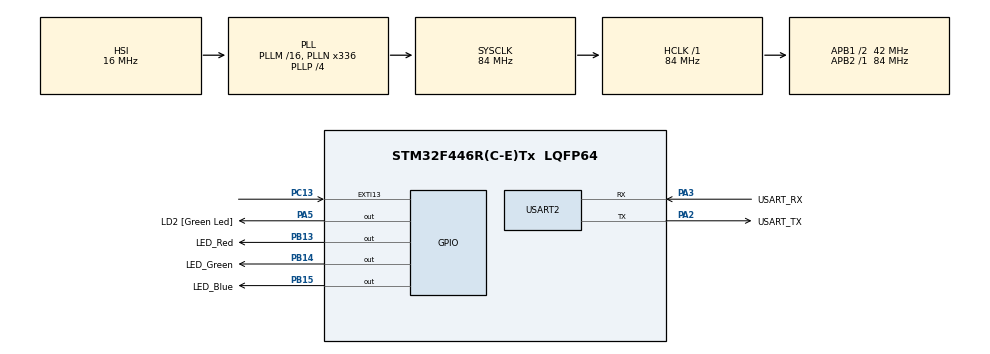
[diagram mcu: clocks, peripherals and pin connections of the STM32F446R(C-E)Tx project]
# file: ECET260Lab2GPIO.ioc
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Mcu.Family=STM32F4
Mcu.Name=STM32F446R(C-E)Tx
Mcu.Package=LQFP64
NVIC.EXTI15_10_IRQn=true\:0\:0\:false\:false\:true\:true\:true\:true
NVIC.PriorityGroup=NVIC_PRIORITYGROUP_0
PA13.GPIO_Label=TMS
PA13.Mode=Serial_Wire
PA13.Signal=SYS_JTMS-SWDIO
PA14.GPIO_Label=TCK
PA14.Mode=Serial_Wire
PA14.Signal=SYS_JTCK-SWCLK
PA2.GPIO_Label=USART_TX
PA2.Mode=Asynchronous
PA2.Signal=USART2_TX
PA3.GPIO_Label=USART_RX
PA3.Mode=Asynchronous
PA3.Signal=USART2_RX
PA5.GPIO_Label=LD2 [Green Led]
PA5.Signal=GPIO_Output
PB13.GPIO_Label=LED_Red
PB13.GPIO_PuPd=GPIO_NOPULL
PB13.Signal=GPIO_Output
PB14.GPIO_Label=LED_Green
PB14.Signal=GPIO_Output
PB15.GPIO_Label=LED_Blue
PB15.Signal=GPIO_Output
PB3.GPIO_Label=SWO
PB3.Signal=SYS_JTDO-SWO
PC13.GPIO_ModeDefaultEXTI=GPIO_MODE_IT_RISING
PC13.Signal=GPXTI13
PC14-OSC32_IN.Mode=LSE-External-Oscillator
PC14-OSC32_IN.Signal=RCC_OSC32_IN
PC15-OSC32_OUT.Mode=LSE-External-Oscillator
PC15-OSC32_OUT.Signal=RCC_OSC32_OUT
PH0-OSC_IN.Mode=HSE-External-Oscillator
PH0-OSC_IN.Signal=RCC_OSC_IN
PH1-OSC_OUT.Mode=HSE-External-Oscillator
PH1-OSC_OUT.Signal=RCC_OSC_OUT
ProjectManager.HeapSize=0x200
ProjectManager.StackSize=0x400
ProjectManager.TargetToolchain=STM32CubeIDE
RCC.48MHZClocksFreq_Value=84000000
RCC.AHBFreq_Value=84000000
RCC.APB1CLKDivider=RCC_HCLK_DIV2
RCC.APB1Freq_Value=42000000
RCC.APB1TimFreq_Value=84000000
RCC.APB2Freq_Value=84000000
RCC.APB2TimFreq_Value=84000000
RCC.CortexFreq_Value=84000000
RCC.FLatency-AdvancedSettings=FLASH_LATENCY_2
RCC.HCLKFreq_Value=84000000
RCC.HSE_VALUE=8000000
RCC.HSI_VALUE=16000000
RCC.PLLN=336
RCC.PLLP=RCC_PLLP_DIV4
RCC.SYSCLKFreq_VALUE=84000000
RCC.SYSCLKSource=RCC_SYSCLKSOURCE_PLLCLK
RCC.USBFreq_Value=168000000
RCC.VCOOutputFreq_Value=336000000
USART2.VirtualMode=VM_ASYNC
board=NUCLEO-F446RE

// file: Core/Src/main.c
/* USER CODE BEGIN Header */
/**
  ******************************************************************************
  * @file           : main.c
  * @brief          : Main program body
  ******************************************************************************
  * @attention
  *
  * Copyright (c) 2023 STMicroelectronics.
  * All rights reserved.
  *
  * This software is licensed under terms that can be found in the LICENSE file
  * in the root directory of this software component.
  * If no LICENSE file comes with this software, it is provided AS-IS.
  *
  ******************************************************************************
  */
/* USER CODE END Header */
#include "main.h"

UART_HandleTypeDef huart2;

/* USER CODE BEGIN PV */

int currentLEDColor = 0;
int flashCounter = 0;
int isPressed = 0;

/* USER CODE END PV */

void SystemClock_Config(void);
static void MX_GPIO_Init(void);
static void MX_USART2_UART_Init(void);
/* USER CODE BEGIN PFP */

void setLEDColor(int color);
/* USER CODE END PFP */

int main(void)
{

  /* MCU Configuration--------------------------------------------------------*/

  /* Reset of all peripherals, Initializes the Flash interface and the Systick. */
  HAL_Init();

  /* Configure the system clock */
  SystemClock_Config();

  /* Initialize all configured peripherals */
  MX_GPIO_Init();
  MX_USART2_UART_Init();

  /* Infinite loop */
  while (1)
  {

    /* USER CODE BEGIN 3 */

	  //If check if button is pressed
	  if(isPressed){
		  //Alternate between white and off on the LED
		  if(flashCounter){
			  flashCounter = 0;
			  setLEDColor(4);
		  }else{
			  flashCounter = 1;
			  setLEDColor(0);
		  }
	  }else{//If not pressed

		  //Cycle the LED between red(1) green(2) blue(3)
		  if(currentLEDColor > 2){
			  currentLEDColor = 1;
		  }else{
			  currentLEDColor++;
		  }
		  setLEDColor(currentLEDColor);
	  }
	  //Cyle every 250ms
	  HAL_Delay(250);

  }
  /* USER CODE END 3 */
}

void SystemClock_Config(void)
{
  RCC_OscInitTypeDef RCC_OscInitStruct = {0};
  RCC_ClkInitTypeDef RCC_ClkInitStruct = {0};

  /** Configure the main internal regulator output voltage
  */
  __HAL_RCC_PWR_CLK_ENABLE();
  __HAL_PWR_VOLTAGESCALING_CONFIG(PWR_REGULATOR_VOLTAGE_SCALE3);

  /** Initializes the RCC Oscillators according to the specified parameters
  * in the RCC_OscInitTypeDef structure.
  */
  RCC_OscInitStruct.OscillatorType = RCC_OSCILLATORTYPE_HSI;
  RCC_OscInitStruct.HSIState = RCC_HSI_ON;
  RCC_OscInitStruct.HSICalibrationValue = RCC_HSICALIBRATION_DEFAULT;
  RCC_OscInitStruct.PLL.PLLState = RCC_PLL_ON;
  RCC_OscInitStruct.PLL.PLLSource = RCC_PLLSOURCE_HSI;
  RCC_OscInitStruct.PLL.PLLM = 16;
  RCC_OscInitStruct.PLL.PLLN = 336;
  RCC_OscInitStruct.PLL.PLLP = RCC_PLLP_DIV4;
  RCC_OscInitStruct.PLL.PLLQ = 2;
  RCC_OscInitStruct.PLL.PLLR = 2;
  if (HAL_RCC_OscConfig(&RCC_OscInitStruct) != HAL_OK)
  {
    Error_Handler();
  }

  /** Initializes the CPU, AHB and APB buses clocks
  */
  RCC_ClkInitStruct.ClockType = RCC_CLOCKTYPE_HCLK|RCC_CLOCKTYPE_SYSCLK
                              |RCC_CLOCKTYPE_PCLK1|RCC_CLOCKTYPE_PCLK2;
  RCC_ClkInitStruct.SYSCLKSource = RCC_SYSCLKSOURCE_PLLCLK;
  RCC_ClkInitStruct.AHBCLKDivider = RCC_SYSCLK_DIV1;
  RCC_ClkInitStruct.APB1CLKDivider = RCC_HCLK_DIV2;
  RCC_ClkInitStruct.APB2CLKDivider = RCC_HCLK_DIV1;

  if (HAL_RCC_ClockConfig(&RCC_ClkInitStruct, FLASH_LATENCY_2) != HAL_OK)
  {
    Error_Handler();
  }
}

static void MX_USART2_UART_Init(void)
{

  huart2.Instance = USART2;
  huart2.Init.BaudRate = 115200;
  huart2.Init.WordLength = UART_WORDLENGTH_8B;
  huart2.Init.StopBits = UART_STOPBITS_1;
  huart2.Init.Parity = UART_PARITY_NONE;
  huart2.Init.Mode = UART_MODE_TX_RX;
  huart2.Init.HwFlowCtl = UART_HWCONTROL_NONE;
  huart2.Init.OverSampling = UART_OVERSAMPLING_16;
  if (HAL_UART_Init(&huart2) != HAL_OK)
  {
    Error_Handler();
  }

}

static void MX_GPIO_Init(void)
{
  GPIO_InitTypeDef GPIO_InitStruct = {0};

  /* GPIO Ports Clock Enable */
  __HAL_RCC_GPIOC_CLK_ENABLE();
  __HAL_RCC_GPIOH_CLK_ENABLE();
  __HAL_RCC_GPIOA_CLK_ENABLE();
  __HAL_RCC_GPIOB_CLK_ENABLE();

  /*Configure GPIO pin Output Level */
  HAL_GPIO_WritePin(LD2_GPIO_Port, LD2_Pin, GPIO_PIN_RESET);

  /*Configure GPIO pin Output Level */
  HAL_GPIO_WritePin(GPIOB, LED_Red_Pin|LED_Green_Pin|LED_Blue_Pin, GPIO_PIN_RESET);

  /*Configure GPIO pin : PC13 */
  GPIO_InitStruct.Pin = GPIO_PIN_13;
  GPIO_InitStruct.Mode = GPIO_MODE_IT_RISING_FALLING;
  GPIO_InitStruct.Pull = GPIO_NOPULL;
  HAL_GPIO_Init(GPIOC, &GPIO_InitStruct);

  /*Configure GPIO pin : LD2_Pin */
  GPIO_InitStruct.Pin = LD2_Pin;
  GPIO_InitStruct.Mode = GPIO_MODE_OUTPUT_PP;
  GPIO_InitStruct.Pull = GPIO_NOPULL;
  GPIO_InitStruct.Speed = GPIO_SPEED_FREQ_LOW;
  HAL_GPIO_Init(LD2_GPIO_Port, &GPIO_InitStruct);

  /*Configure GPIO pins : LED_Red_Pin LED_Green_Pin LED_Blue_Pin */
  GPIO_InitStruct.Pin = LED_Red_Pin|LED_Green_Pin|LED_Blue_Pin;
  GPIO_InitStruct.Mode = GPIO_MODE_OUTPUT_PP;
  GPIO_InitStruct.Pull = GPIO_NOPULL;
  GPIO_InitStruct.Speed = GPIO_SPEED_FREQ_LOW;
  HAL_GPIO_Init(GPIOB, &GPIO_InitStruct);

  /* EXTI interrupt init*/
  HAL_NVIC_SetPriority(EXTI15_10_IRQn, 0, 0);
  HAL_NVIC_EnableIRQ(EXTI15_10_IRQn);

}

/* USER CODE BEGIN 4 */

void HAL_GPIO_EXTI_Callback(uint16_t GPIO_Pin)
{
  //User Button Interrupt
  if(GPIO_Pin == GPIO_PIN_13) {
	  if(!HAL_GPIO_ReadPin(GPIOC, GPIO_PIN_13)){//Falling Edge
		  HAL_GPIO_WritePin(LD2_GPIO_Port, LD2_Pin, GPIO_PIN_SET);
		  isPressed = 1;
	  }else{//Rising Edge
		  HAL_GPIO_WritePin(LD2_GPIO_Port, LD2_Pin, GPIO_PIN_RESET);
		  isPressed = 0;
	  }
  } else {
      __NOP();
  }
}

//0 = Off, 1 = red, 2 = green, 3 = blue, 4 = white
void setLEDColor(int color){
	switch(color){
		case 0:
		  HAL_GPIO_WritePin(LED_Red_GPIO_Port, LED_Red_Pin, GPIO_PIN_RESET);
		  HAL_GPIO_WritePin(LED_Green_GPIO_Port, LED_Green_Pin, GPIO_PIN_RESET);
		  HAL_GPIO_WritePin(LED_Blue_GPIO_Port, LED_Blue_Pin, GPIO_PIN_RESET);
		  break;
		case 1:
		  HAL_GPIO_WritePin(LED_Red_GPIO_Port, LED_Red_Pin, GPIO_PIN_SET);
		  HAL_GPIO_WritePin(LED_Green_GPIO_Port, LED_Green_Pin, GPIO_PIN_RESET);
		  HAL_GPIO_WritePin(LED_Blue_GPIO_Port, LED_Blue_Pin, GPIO_PIN_RESET);
		  break;
		case 2:
		  HAL_GPIO_WritePin(LED_Red_GPIO_Port, LED_Red_Pin, GPIO_PIN_RESET);
		  HAL_GPIO_WritePin(LED_Green_GPIO_Port, LED_Green_Pin, GPIO_PIN_SET);
		  HAL_GPIO_WritePin(LED_Blue_GPIO_Port, LED_Blue_Pin, GPIO_PIN_RESET);
		  break;
		case 3:
		  HAL_GPIO_WritePin(LED_Red_GPIO_Port, LED_Red_Pin, GPIO_PIN_RESET);
		  HAL_GPIO_WritePin(LED_Green_GPIO_Port, LED_Green_Pin, GPIO_PIN_RESET);
		  HAL_GPIO_WritePin(LED_Blue_GPIO_Port, LED_Blue_Pin, GPIO_PIN_SET);
		  break;
		case 4:
		  HAL_GPIO_WritePin(LED_Red_GPIO_Port, LED_Red_Pin, GPIO_PIN_SET);
		  HAL_GPIO_WritePin(LED_Green_GPIO_Port, LED_Green_Pin, GPIO_PIN_SET);
		  HAL_GPIO_WritePin(LED_Blue_GPIO_Port, LED_Blue_Pin, GPIO_PIN_SET);
		  break;
		default:
		  HAL_GPIO_WritePin(LED_Red_GPIO_Port, LED_Red_Pin, GPIO_PIN_RESET);
		  HAL_GPIO_WritePin(LED_Green_GPIO_Port, LED_Green_Pin, GPIO_PIN_RESET);
		  HAL_GPIO_WritePin(LED_Blue_GPIO_Port, LED_Blue_Pin, GPIO_PIN_RESET);
		  break;
	}
}

/* USER CODE END 4 */

void Error_Handler(void)
{
  __disable_irq();
  while (1)
  {
  }
}
